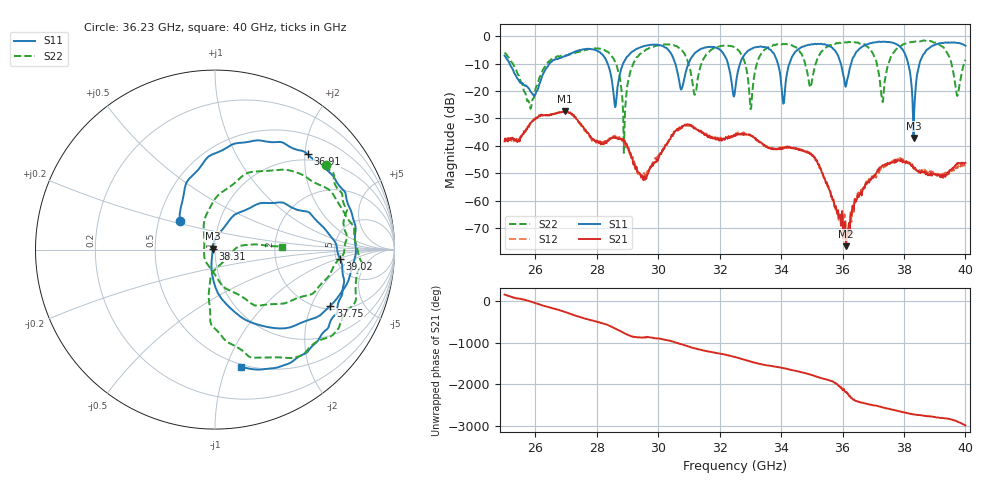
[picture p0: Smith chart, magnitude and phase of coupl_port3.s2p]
!Keysight Technologies,N5225A,MY55451607,A.10.47.03
!Date: Friday, May 31, 2024 11:17:43
!Correction: S11(Full 2 Port(1,2))
!S21(Full 2 Port(1,2))
!S12(Full 2 Port(1,2))
!S22(Full 2 Port(1,2))
!S2P File: Measurements: S11, S21, S12, S22:
# Hz S  RI  R 50
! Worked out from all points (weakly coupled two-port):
!   801 points, 25 GHz to 40 GHz, reference 50 ohm
!   highest |S21| = -27.42 dB at 26.95 GHz (marker M1); lowest = -76.6 dB at 36.12 GHz (marker M2)
!   lowest |S11| = -37.2 dB at 38.31 GHz (marker M3), VSWR 1.03, Z = 48.8 + j0.567 ohm
!   |S11| at or under -10 dB: 25.16 GHz to 26.46 GHz (1.298 GHz wide, 5.03 % of centre); 28.35 GHz to 28.86 GHz (503.9 MHz wide, 1.76 % of centre); 30.56 GHz to 30.99 GHz (433 MHz wide, 1.41 % of centre)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
!   |S22| runs from -42.6 to -1.6 dB; largest |S21 - S12| = 0.0024
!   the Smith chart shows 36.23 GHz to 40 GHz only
!   S11 on the Smith chart (normalised r, x): 36.23 GHz: 0.64, +0.22; 36.91 GHz: 0.87, +2.06; 37.75 GHz: 2.17, -2.77; 38.31 GHz: 0.98, +0.01; 39.02 GHz: 5.40, -1.11; 40 GHz: 0.48, -1.13
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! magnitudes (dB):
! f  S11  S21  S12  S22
! 25 GHz  -7.2  -38.4  -38.3  -6.1
! 25.81 GHz  -19.3  -32.3  -32.6  -24.5
! 26.95 GHz  -7.4  -27.4  -27.5  -7.0
! 27.51 GHz  -5.0  -32.7  -32.9  -5.4
! 28.6 GHz  -25.9  -36.8  -36.3  -9.6
! 28.9 GHz  -9.2  -37.9  -39.0  -34.2
! 30.01 GHz  -3.2  -44.7  -43.5  -3.3
! 30.76 GHz  -19.5  -33.6  -33.5  -5.0
! 31.19 GHz  -6.3  -33.5  -33.3  -21.4
! 32.5 GHz  -20.0  -36.5  -36.2  -4.2
! 33.01 GHz  -4.8  -36.1  -36.1  -26.7
! 34.08 GHz  -24.6  -40.8  -40.5  -2.8
! 35.01 GHz  -3.0  -43.6  -43.7  -15.6
! 36.12 GHz  -17.9  -76.6  -73.1  -2.3
! 36.23 GHz  -11.9  -71.9  -70.1  -2.2
! 36.91 GHz  -2.6  -52.1  -52.2  -4.8
! 37.28 GHz  -2.1  -47.5  -48.5  -22.4
! 37.51 GHz  -2.1  -46.6  -46.5  -9.8
! 37.75 GHz  -2.9  -45.9  -45.1  -4.7
! 38.31 GHz  -37.2  -48.1  -48.4  -2.1
! 39.02 GHz  -3.1  -50.3  -50.5  -2.3
! 40 GHz  -3.5  -46.2  -47.0  -8.6
